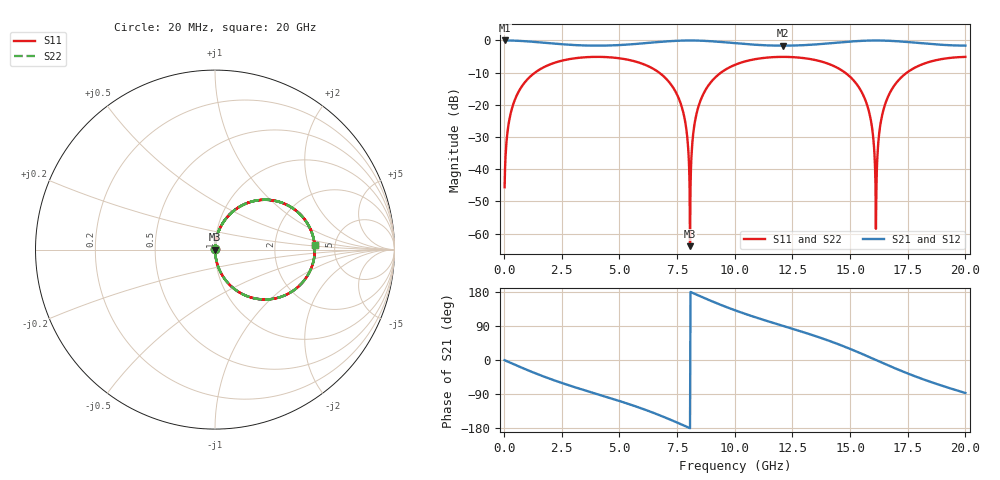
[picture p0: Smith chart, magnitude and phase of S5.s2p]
! Touchstone file exported from Circuit Design 2026.1.0
!  File:  local/demo-project/Project1.aedt
!  Generated:  01:59:13 PM Apr 21, 2026
!  Design:  Circuit1
!  Project:  Project1
!  Setup:  LinearFrequency
!  Solution:  LinearFrequency
# GHz S MA R 50.000000
! Terminal data exported
! Port[1] = Port1
! Port[2] = Port2
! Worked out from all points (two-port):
!   1000 points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, 20 MHz to 20 GHz, reference 50 ohm
!   highest |S21| = 0.00 dB at 20 MHz (marker M1); lowest = -1.6 dB at 12.1 GHz (marker M2)
!   |S21| within 3 dB of the highest: start of sweep to end of sweep
!   lowest |S11| = -63.9 dB at 8.06 GHz (marker M3), VSWR 1.00, Z = 50.1 - j0.0257 ohm
!   |S11| at or under -10 dB: start of sweep to 1.335 GHz; 6.724 GHz to 9.399 GHz (2.676 GHz wide, 33.2 % of centre); 14.78 GHz to 17.46 GHz (2.677 GHz wide, 16.6 % of centre)
!   |S22| runs from -63.9 to -5.1 dB; largest |S21 - S12| = 1.7e-14
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0.02  0.005266 87.9  0.9998 -0.5  0.9998 -0.5  0.005266 87.9
! Gamma 0 0 0 0
! Port Impedance 50 0 50 0
0.26  0.06783 82.7  0.9974 -7.0  0.9974 -7.0  0.06783 82.7
0.78  0.1969 69.2  0.9799 -20.7  0.9799 -20.7  0.1969 69.2
3.36  0.5432 12.5  0.839 -77.5  0.839 -77.5  0.5432 12.5
4.92  0.5329 -16.7  0.8455 -106.7  0.8455 -106.7  0.5329 -16.7
6.68  0.3246 -54.3  0.945 -144.3  0.945 -144.3  0.3246 -54.3
7.66  0.1036 -79.0  0.9936 -169.3  0.9936 -169.3  0.1036 -79.0
7.86  0.0523 -84.0  0.9976 -174.6  0.9976 -174.6  0.0523 -84.0
7.98  0.02112 -86.3  0.9987 -177.8  0.9987 -177.8  0.02112 -86.3
8.06  0.0006404 -23.6  0.9989 -180.0  0.9989 -180.0  0.0006404 -23.6
8.28  0.05696 83.5  0.9973 174.1  0.9973 174.1  0.05696 83.5
8.58  0.1332 75.9  0.99 166.1  0.99 166.1  0.1332 75.9
10.02  0.4199 40.9  0.9064 131.0  0.9064 131.0  0.4199 40.9
12.1  0.5561 -0.2  0.83 89.9  0.83 89.9  0.5561 -0.2
13.34  0.5091 -23.7  0.8596 66.3  0.8596 66.3  0.5091 -23.7
15.44  0.1734 -71.6  0.9835 18.2  0.9835 18.2  0.1734 -71.6
15.86  0.06835 -82.3  0.9962 7.1  0.9962 7.1  0.06835 -82.3
16.12  0.001191 -45.8  0.9985 0.1  0.9985 0.1  0.001191 -45.8
16.36  0.0615 82.9  0.9966 -6.4  0.9966 -6.4  0.0615 82.9
16.68  0.1425 74.8  0.9883 -14.9  0.9883 -14.9  0.1425 74.8
17.86  0.3863 45.9  0.9209 -44.0  0.9209 -44.0  0.3863 45.9
20  0.5552 2.9  0.8303 -87.1  0.8303 -87.1  0.5552 2.9
